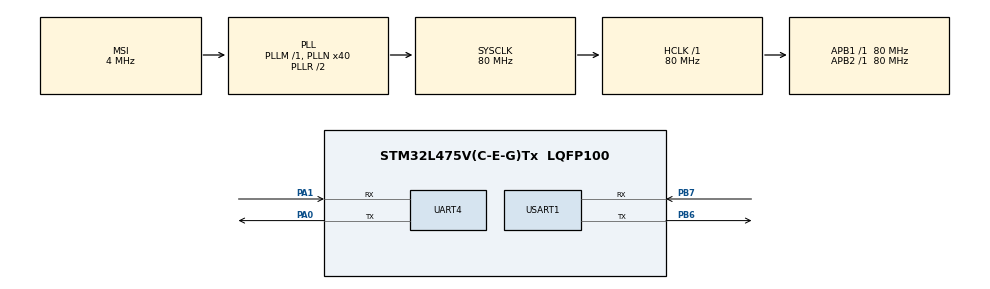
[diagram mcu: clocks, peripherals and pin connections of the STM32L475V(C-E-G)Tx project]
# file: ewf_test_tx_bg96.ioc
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Mcu.Family=STM32L4
Mcu.Name=STM32L475V(C-E-G)Tx
Mcu.Package=LQFP100
NVIC.PriorityGroup=NVIC_PRIORITYGROUP_4
NVIC.TIM6_DAC_IRQn=true\:15\:0\:false\:false\:true\:false\:false\:true\:true
NVIC.TimeBase=TIM6_DAC_IRQn
NVIC.TimeBaseIP=TIM6
NVIC.UART4_IRQn=true\:0\:0\:false\:false\:true\:false\:true\:true\:true
PA0.Mode=Asynchronous
PA0.Signal=UART4_TX
PA1.Mode=Asynchronous
PA1.Signal=UART4_RX
PB6.Mode=Asynchronous
PB6.Signal=USART1_TX
PB7.Mode=Asynchronous
PB7.Signal=USART1_RX
ProjectManager.HeapSize=0x200
ProjectManager.StackSize=0x400
ProjectManager.TargetToolchain=STM32CubeIDE
RCC.ADCFreq_Value=48000000
RCC.AHBFreq_Value=80000000
RCC.APB1Freq_Value=80000000
RCC.APB1TimFreq_Value=80000000
RCC.APB2Freq_Value=80000000
RCC.APB2TimFreq_Value=80000000
RCC.CortexFreq_Value=80000000
RCC.HCLKFreq_Value=80000000
RCC.HSE_VALUE=8000000
RCC.HSI_VALUE=16000000
RCC.LSE_VALUE=32768
RCC.MSI_VALUE=4000000
RCC.PLLN=40
RCC.PLLSAI1N=24
RCC.SYSCLKFreq_VALUE=80000000
RCC.SYSCLKSource=RCC_SYSCLKSOURCE_PLLCLK
RCC.USBFreq_Value=48000000
RCC.VCOOutputFreq_Value=160000000
STMicroelectronics.X-CUBE-AZRTOS-L4.1.0.0.ThreadXCcRTOSJjThreadXJjCore=true
STMicroelectronics.X-CUBE-AZRTOS-L4.1.0.0_IsAnAzureRtosMw=true
USART1.VirtualMode-Asynchronous=VM_ASYNC
VP_STMicroelectronics.X-CUBE-AZRTOS-L4_VS_RTOSJjThreadX_6.1.7_1.0.0.Mode=RTOSJjThreadX
VP_SYS_VS_tim6.Mode=TIM6
board=B-L475E-IOT01A1

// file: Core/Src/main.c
/* USER CODE BEGIN Header */
/**
  ******************************************************************************
  * @file           : main.c
  * @brief          : Main program body
  ******************************************************************************
  * @attention
  *
  * Copyright (c) 2022 STMicroelectronics.
  * All rights reserved.
  *
  * This software is licensed under terms that can be found in the LICENSE file
  * in the root directory of this software component.
  * If no LICENSE file comes with this software, it is provided AS-IS.
  *
  ******************************************************************************
  */
/* USER CODE END Header */
#include "main.h"
#include "app_threadx.h"

/* USER CODE BEGIN Includes */
#include <stdlib.h>

#include "ewf_lib.c"
#include "ewf_platform_threadx.c"
#include "ewf_allocator.c"
#include "ewf_allocator_threadx.c"
#include "ewf_interface.c"
#include "ewf_interface_stm32_uart.c"
#include "ewf_adapter.c"
#include "ewf_adapter_api_control.c"
#include "ewf_adapter_api_info.c"
#include "ewf_adapter_api_tls_basic.c"
#include "ewf_adapter_api_mqtt_basic.c"
#include "ewf_adapter_api_tcp.c"
#include "ewf_adapter_api_udp.c"
#include "ewf_adapter_api_modem.c"
#include "ewf_adapter_api_modem_general.c"
#include "ewf_adapter_api_modem_network_service.c"
#include "ewf_adapter_api_modem_packet_domain.c"
#include "ewf_adapter_api_modem_sim_utility.c"
#include "ewf_adapter_api_modem_sms.c"
#include "ewf_adapter_quectel.c"
#include "ewf_adapter_quectel_bg96_control.c"
#include "ewf_adapter_quectel_bg96_info.c"
#include "ewf_adapter_quectel_bg96_ufs.c"
#include "ewf_adapter_quectel_bg96_urc.c"
#include "ewf_adapter_quectel_bg96_tls_basic.c"
#include "ewf_adapter_quectel_bg96_mqtt_basic.c"
#include "ewf_adapter_quectel_bg96_internet.c"
#include "ewf_adapter_quectel_bg96_tls.c"
#include "ewf_adapter_quectel_bg96_mqtt.c"
#include "test/ewf_adapter_quectel_bg96_test.c"
#include "ewf.config.h"
#include "ewf_example.config.h"

/* USER CODE END Includes */

/* USER CODE BEGIN PTD */
#if defined ( __GNUC__) && !defined(__clang__)
/* With GCC, small printf (option LD Linker->Libraries->Small printf
   set to 'Yes') calls __io_putchar() */
#define PUTCHAR_PROTOTYPE int __io_putchar(int ch)
#else
#define PUTCHAR_PROTOTYPE int fputc(int ch, FILE *f)
#endif /* __GNUC__ */

/* USER CODE END PTD */

UART_HandleTypeDef huart4;
UART_HandleTypeDef huart1;

void SystemClock_Config(void);
static void MX_GPIO_Init(void);
static void MX_UART4_Init(void);
static void MX_USART1_UART_Init(void);

/* USER CODE BEGIN 0 */

void thread_sample_entry(ULONG thread_input)
{
    ewf_result result;

    ewf_allocator* message_allocator_ptr = NULL;
    ewf_allocator* data_allocator_ptr = NULL;
    ewf_interface* interface_ptr = NULL;
    ewf_adapter* adapter_ptr = NULL;

    EWF_ALLOCATOR_THREADX_STATIC_DECLARE(message_allocator_ptr, message_allocator, EWF_CONFIG_MESSAGE_ALLOCATOR_BLOCK_COUNT, EWF_CONFIG_MESSAGE_ALLOCATOR_BLOCK_SIZE);
    EWF_ALLOCATOR_THREADX_STATIC_DECLARE(data_allocator_ptr, data_allocator, 4, 1500);
    EWF_INTERFACE_STM32_UART_STATIC_DECLARE(interface_ptr, stm32_uart_port, &huart4);
    EWF_ADAPTER_QUECTEL_BG96_STATIC_DECLARE(adapter_ptr, quectel_bg96, message_allocator_ptr, data_allocator_ptr, interface_ptr);

    /* Start the adapter.  */
    if (ewf_result_failed(result = ewf_adapter_start(adapter_ptr)))
    {
        EWF_LOG_ERROR("Failed to start the adapter: result 0x%08x.", result);
        exit(result);
    }

    // Set the SIM PIN
    if (ewf_result_failed(result = ewf_adapter_modem_sim_pin_enter(adapter_ptr, EWF_CONFIG_SIM_PIN)))
    {
        EWF_LOG_ERROR("Failed to the SIM PIN: result 0x%08x.", result);
        exit(result);
    }

    // Set the ME functionality
    if (ewf_result_failed(result = ewf_adapter_modem_functionality_set(adapter_ptr, "1")))
    {
        EWF_LOG_ERROR("Failed to the ME functionality: result 0x%08x.", result);
        exit(result);
    }

    /* Run the adapter tests.  */
    if (ewf_result_failed(result = ewf_adapter_quectel_bg96_test(adapter_ptr)))
    {
        EWF_LOG_ERROR("Failed to run the adapter test: result 0x%08x.", result);
        return;
    }

    /* Stay here forever.  */
    while (1)
    {
        tx_thread_sleep(100);
    }
}

/**
* @brief  Retargets the C library printf function to the USART.
* @param  None
* @retval None
*/

PUTCHAR_PROTOTYPE
{
    /* Place your implementation of fputc here */
    /* e.g. write a character to the USART1 and Loop until the end of transmission */
    HAL_UART_Transmit(&huart1, (uint8_t *)&ch, 1, 0xFFFF);
    return ch;
}

/* USER CODE END 0 */

int main(void)
{

  /* MCU Configuration--------------------------------------------------------*/

  /* Reset of all peripherals, Initializes the Flash interface and the Systick. */
  HAL_Init();

  /* Configure the system clock */
  SystemClock_Config();

  /* Initialize all configured peripherals */
  MX_GPIO_Init();
  MX_UART4_Init();
  MX_USART1_UART_Init();

  MX_ThreadX_Init();

  /* We should never get here as control is now taken by the scheduler */
  /* Infinite loop */
  while (1)
  {

  }
}

void SystemClock_Config(void)
{
  RCC_OscInitTypeDef RCC_OscInitStruct = {0};
  RCC_ClkInitTypeDef RCC_ClkInitStruct = {0};

  /** Configure the main internal regulator output voltage
  */
  if (HAL_PWREx_ControlVoltageScaling(PWR_REGULATOR_VOLTAGE_SCALE1) != HAL_OK)
  {
    Error_Handler();
  }

  /** Initializes the RCC Oscillators according to the specified parameters
  * in the RCC_OscInitTypeDef structure.
  */
  RCC_OscInitStruct.OscillatorType = RCC_OSCILLATORTYPE_MSI;
  RCC_OscInitStruct.MSIState = RCC_MSI_ON;
  RCC_OscInitStruct.MSICalibrationValue = 0;
  RCC_OscInitStruct.MSIClockRange = RCC_MSIRANGE_6;
  RCC_OscInitStruct.PLL.PLLState = RCC_PLL_ON;
  RCC_OscInitStruct.PLL.PLLSource = RCC_PLLSOURCE_MSI;
  RCC_OscInitStruct.PLL.PLLM = 1;
  RCC_OscInitStruct.PLL.PLLN = 40;
  RCC_OscInitStruct.PLL.PLLP = RCC_PLLP_DIV7;
  RCC_OscInitStruct.PLL.PLLQ = RCC_PLLQ_DIV2;
  RCC_OscInitStruct.PLL.PLLR = RCC_PLLR_DIV2;
  if (HAL_RCC_OscConfig(&RCC_OscInitStruct) != HAL_OK)
  {
    Error_Handler();
  }

  /** Initializes the CPU, AHB and APB buses clocks
  */
  RCC_ClkInitStruct.ClockType = RCC_CLOCKTYPE_HCLK|RCC_CLOCKTYPE_SYSCLK
                              |RCC_CLOCKTYPE_PCLK1|RCC_CLOCKTYPE_PCLK2;
  RCC_ClkInitStruct.SYSCLKSource = RCC_SYSCLKSOURCE_PLLCLK;
  RCC_ClkInitStruct.AHBCLKDivider = RCC_SYSCLK_DIV1;
  RCC_ClkInitStruct.APB1CLKDivider = RCC_HCLK_DIV1;
  RCC_ClkInitStruct.APB2CLKDivider = RCC_HCLK_DIV1;

  if (HAL_RCC_ClockConfig(&RCC_ClkInitStruct, FLASH_LATENCY_4) != HAL_OK)
  {
    Error_Handler();
  }
}

static void MX_UART4_Init(void)
{

  huart4.Instance = UART4;
  huart4.Init.BaudRate = 115200;
  huart4.Init.WordLength = UART_WORDLENGTH_8B;
  huart4.Init.StopBits = UART_STOPBITS_1;
  huart4.Init.Parity = UART_PARITY_NONE;
  huart4.Init.Mode = UART_MODE_TX_RX;
  huart4.Init.HwFlowCtl = UART_HWCONTROL_NONE;
  huart4.Init.OverSampling = UART_OVERSAMPLING_16;
  huart4.Init.OneBitSampling = UART_ONE_BIT_SAMPLE_DISABLE;
  huart4.AdvancedInit.AdvFeatureInit = UART_ADVFEATURE_NO_INIT;
  if (HAL_UART_Init(&huart4) != HAL_OK)
  {
    Error_Handler();
  }

}

static void MX_USART1_UART_Init(void)
{

  huart1.Instance = USART1;
  huart1.Init.BaudRate = 115200;
  huart1.Init.WordLength = UART_WORDLENGTH_8B;
  huart1.Init.StopBits = UART_STOPBITS_1;
  huart1.Init.Parity = UART_PARITY_NONE;
  huart1.Init.Mode = UART_MODE_TX_RX;
  huart1.Init.HwFlowCtl = UART_HWCONTROL_NONE;
  huart1.Init.OverSampling = UART_OVERSAMPLING_16;
  huart1.Init.OneBitSampling = UART_ONE_BIT_SAMPLE_DISABLE;
  huart1.AdvancedInit.AdvFeatureInit = UART_ADVFEATURE_NO_INIT;
  if (HAL_UART_Init(&huart1) != HAL_OK)
  {
    Error_Handler();
  }

}

static void MX_GPIO_Init(void)
{

  /* GPIO Ports Clock Enable */
  __HAL_RCC_GPIOA_CLK_ENABLE();
  __HAL_RCC_GPIOB_CLK_ENABLE();

}

void HAL_TIM_PeriodElapsedCallback(TIM_HandleTypeDef *htim)
{
  if (htim->Instance == TIM6) {
    HAL_IncTick();
  }
}

void Error_Handler(void)
{
  __disable_irq();
  while (1)
  {
  }
}
